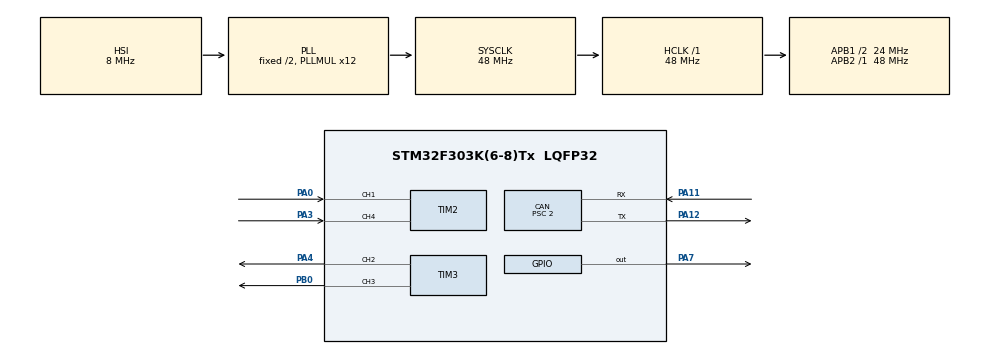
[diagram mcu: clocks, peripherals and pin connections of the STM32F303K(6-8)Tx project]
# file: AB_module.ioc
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CAN.BS1=CAN_BS1_8TQ
CAN.BS2=CAN_BS2_3TQ
CAN.CalculateTimeBit=1000
CAN.CalculateTimeQuantum=83.33333333333333
CAN.Prescaler=2
Mcu.Family=STM32F3
Mcu.Name=STM32F303K(6-8)Tx
Mcu.Package=LQFP32
NVIC.CAN_RX0_IRQn=true\:0\:0\:false\:false\:true\:true
NVIC.CAN_TX_IRQn=true\:0\:0\:false\:false\:true\:true
NVIC.PriorityGroup=NVIC_PRIORITYGROUP_4
PA0.Signal=S_TIM2_CH1_ETR
PA11.Mode=Master
PA11.Signal=CAN_RX
PA12.Mode=Master
PA12.Signal=CAN_TX
PA3.Signal=S_TIM2_CH4
PA4.Signal=S_TIM3_CH2
PA7.PinState=GPIO_PIN_RESET
PA7.Signal=GPIO_Output
PB0.Signal=S_TIM3_CH3
PF0\ /\ OSC_IN.Mode=HSE-External-Oscillator
PF0\ /\ OSC_IN.Signal=RCC_OSC_IN
PF1\ /\ OSC_OUT.Mode=HSE-External-Oscillator
PF1\ /\ OSC_OUT.Signal=RCC_OSC_OUT
ProjectManager.HeapSize=0x200
ProjectManager.StackSize=0x400
ProjectManager.TargetToolchain=MDK-ARM V5
RCC.AHBFreq_Value=48000000
RCC.APB1CLKDivider=RCC_HCLK_DIV2
RCC.APB1Freq_Value=24000000
RCC.APB1TimFreq_Value=48000000
RCC.APB2Freq_Value=48000000
RCC.APB2TimFreq_Value=48000000
RCC.CortexFreq_Value=48000000
RCC.HCLKFreq_Value=48000000
RCC.HSE_VALUE=8000000
RCC.HSI_VALUE=8000000
RCC.PLLMUL=RCC_PLL_MUL12
RCC.PLLSourceVirtual=RCC_PLLSOURCE_HSE
RCC.RCC_PLLsource_Clock_Source_FROM_HSE=RCC_HSE_PREDIV_DIV2
RCC.SYSCLKFreq_VALUE=48000000
RCC.SYSCLKSourceVirtual=RCC_SYSCLKSOURCE_PLLCLK
SH.S_TIM2_CH1_ETR.0=TIM2_CH1,Input_Capture1_from_TI1
SH.S_TIM2_CH4.0=TIM2_CH4,Input_Capture4_from_TI4
SH.S_TIM3_CH2.0=TIM3_CH2,PWM Generation2 CH2
SH.S_TIM3_CH3.0=TIM3_CH3,PWM Generation3 CH3
TIM2.Channel-Input_Capture1_from_TI1=TIM_CHANNEL_1
TIM2.Channel-Input_Capture4_from_TI4=TIM_CHANNEL_4
TIM3.Channel-PWM\ Generation2\ CH2=TIM_CHANNEL_2
TIM3.Channel-PWM\ Generation3\ CH3=TIM_CHANNEL_3
board=AB_module

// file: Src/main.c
/**
  ******************************************************************************
  * @file           : main.c
  * @brief          : Main program body
  ******************************************************************************
  ** This notice applies to any and all portions of this file
  * that are not between comment pairs USER CODE BEGIN and
  * USER CODE END. Other portions of this file, whether
  * inserted by the user or by software development tools
  * are owned by their respective copyright owners.
  *
  * COPYRIGHT(c) 2021 STMicroelectronics
  *
  * Redistribution and use in source and binary forms, with or without modification,
  * are permitted provided that the following conditions are met:
  *   1. Redistributions of source code must retain the above copyright notice,
  *      this list of conditions and the following disclaimer.
  *   2. Redistributions in binary form must reproduce the above copyright notice,
  *      this list of conditions and the following disclaimer in the documentation
  *      and/or other materials provided with the distribution.
  *   3. Neither the name of STMicroelectronics nor the names of its contributors
  *      may be used to endorse or promote products derived from this software
  *      without specific prior written permission.
  *
  * THIS SOFTWARE IS PROVIDED BY THE COPYRIGHT HOLDERS AND CONTRIBUTORS "AS IS"
  * AND ANY EXPRESS OR IMPLIED WARRANTIES, INCLUDING, BUT NOT LIMITED TO, THE
  * IMPLIED WARRANTIES OF MERCHANTABILITY AND FITNESS FOR A PARTICULAR PURPOSE ARE
  * DISCLAIMED. IN NO EVENT SHALL THE COPYRIGHT HOLDER OR CONTRIBUTORS BE LIABLE
  * FOR ANY DIRECT, INDIRECT, INCIDENTAL, SPECIAL, EXEMPLARY, OR CONSEQUENTIAL
  * DAMAGES (INCLUDING, BUT NOT LIMITED TO, PROCUREMENT OF SUBSTITUTE GOODS OR
  * SERVICES; LOSS OF USE, DATA, OR PROFITS; OR BUSINESS INTERRUPTION) HOWEVER
  * CAUSED AND ON ANY THEORY OF LIABILITY, WHETHER IN CONTRACT, STRICT LIABILITY,
  * OR TORT (INCLUDING NEGLIGENCE OR OTHERWISE) ARISING IN ANY WAY OUT OF THE USE
  * OF THIS SOFTWARE, EVEN IF ADVISED OF THE POSSIBILITY OF SUCH DAMAGE.
  *
  ******************************************************************************
  */
#include "main.h"
#include "stm32f3xx_hal.h"
#include "CAN.h"
#include "WSS.h"
#include "math.h"

/* USER CODE BEGIN Includes */
volatile uint8_t AB_ON=0;
volatile uint8_t AB_activation=0;
volatile uint8_t AB_transmit=0;
volatile uint8_t AB_update=0;
volatile uint8_t WSS_read=0;
volatile float speed=0;
volatile float speed1=0;
volatile float speed2=0;
volatile float speed3=0;

volatile uint16_t CAN_TRANSMIT_FREQ = 20;
volatile uint16_t AB_UPDATE_FREQ = 100;
volatile uint16_t WSS_UPDATE_FREQ = 100;

volatile uint16_t speedRR_p, speedRL_p;
volatile uint16_t speedFR_p, speedFL_p;
volatile uint32_t	velNord_car=0, velEast_car=0, velDown_car=0;
volatile WSS_t FR, FL, RL, RR;

/*Value of the pulses generated. Needs to be checked*/
volatile uint16_t pulse_1=0, pulse_2=0;

/*Needed to control the button bounce*/
CanRxMsgTypeDef RxMessage;
CanTxMsgTypeDef TxMessage;

/* USER CODE END Includes */

CAN_HandleTypeDef hcan;

TIM_HandleTypeDef htim2;
TIM_HandleTypeDef htim3;

/* USER CODE BEGIN PV */
/* Private variables ---------------------------------------------------------*/

/* USER CODE END PV */

void SystemClock_Config(void);
static void MX_GPIO_Init(void);
static void MX_CAN_Init(void);
static void MX_TIM2_Init(void);
static void MX_TIM3_Init(void);

void HAL_TIM_MspPostInit(TIM_HandleTypeDef *htim);
void Update_PWM(void);
void AB_test(void);

/* USER CODE BEGIN PFP */
/* Private function prototypes -----------------------------------------------*/

/* USER CODE END PFP */

int main(void)
{

  /* MCU Configuration----------------------------------------------------------*/

  /* Reset of all peripherals, Initializes the Flash interface and the Systick. */
  HAL_Init();

  /* Configure the system clock */
  SystemClock_Config();

  /* Initialize all configured peripherals */
  MX_GPIO_Init();
  MX_CAN_Init();
	HAL_CAN_Receive_IT(&hcan,CAN_FIFO0);
  MX_TIM3_Init();
	MX_TIM2_Init();

  /* USER CODE BEGIN 2 */
	HAL_TIM_IC_Start_IT(&htim2, TIM_CHANNEL_1);
	HAL_TIM_IC_Start_IT(&htim2, TIM_CHANNEL_4);
  /* USER CODE END 2 */

  /* Infinite loop */
  /* USER CODE BEGIN WHILE */
  while (1)
  {
	if(AB_transmit==1)
	{
		send_CAN_data();
		AB_transmit=FLAG_RESET;
	}
	if(WSS_read==1)
	{
		HAL_NVIC_DisableIRQ(TIM2_IRQn);
		ReadAllSpeeds();
		HAL_NVIC_EnableIRQ(TIM2_IRQn);
		WSS_read=0;
		}
	if(AB_activation)
	{
		AB_test();
		AB_activation=FLAG_RESET;
	}
	if(AB_update)
	{
		Update_PWM();
		AB_update=FLAG_RESET;
	}
  /* USER CODE END 3 */
  }
}

/*Configuration for the value for each tick*/
void ConfigureSysTick(void)
{
	if(SysTick_Config(SystemCoreClock / 1000))
		while(1);
}

void Update_PWM()
{
	speed1=(speedFR_p+speedFL_p)/2;
	speed2=(FR.speed+FL.speed)/2;
	speed3=pow(pow(velEast_car,2)+pow(velDown_car,2)+pow(velNord_car,2),0.5f)*1000;

	if (speed3>0){
		speed=speed3;}
	if (speed2>0){
		speed=speed2;}
	if (speed1>0){
		speed=speed1;}

	if (speed>12000&speed<20000){
		pulse_1=9610+(speed-12000)/3.125f;
		pulse_2=12172-(speed-12000)/3.125f;
		__HAL_TIM_SET_COMPARE(&htim3, TIM_CHANNEL_2, pulse_1);
		__HAL_TIM_SET_COMPARE(&htim3, TIM_CHANNEL_3, pulse_2);
		AB_ON=1;
		HAL_Delay(1000);
	}
	else{
		AB_ON=0;
	}
}

void AB_test()
{
	for(int i=0; i<2; i++){
	__HAL_TIM_SET_COMPARE(&htim3, TIM_CHANNEL_2, 9610);
	__HAL_TIM_SET_COMPARE(&htim3, TIM_CHANNEL_3, 12172);
	HAL_Delay(500);
	__HAL_TIM_SET_COMPARE(&htim3, TIM_CHANNEL_2, 10110);
	__HAL_TIM_SET_COMPARE(&htim3, TIM_CHANNEL_3, 11110);
	HAL_Delay(500);
	__HAL_TIM_SET_COMPARE(&htim3, TIM_CHANNEL_2, 10610);
	__HAL_TIM_SET_COMPARE(&htim3, TIM_CHANNEL_3, 10610);
	HAL_Delay(500);
	__HAL_TIM_SET_COMPARE(&htim3, TIM_CHANNEL_2, 11110);
	__HAL_TIM_SET_COMPARE(&htim3, TIM_CHANNEL_3, 10110);
	HAL_Delay(500);
	__HAL_TIM_SET_COMPARE(&htim3, TIM_CHANNEL_2, 12170);
	__HAL_TIM_SET_COMPARE(&htim3, TIM_CHANNEL_3, 9610);
	HAL_Delay(500);
}
}
void SystemClock_Config(void)
{

  RCC_OscInitTypeDef RCC_OscInitStruct;
  RCC_ClkInitTypeDef RCC_ClkInitStruct;

    /**Initializes the CPU, AHB and APB busses clocks
    */
  RCC_OscInitStruct.OscillatorType = RCC_OSCILLATORTYPE_HSE;
  RCC_OscInitStruct.HSEState = RCC_HSE_ON;
  RCC_OscInitStruct.HSEPredivValue = RCC_HSE_PREDIV_DIV2;
  RCC_OscInitStruct.HSIState = RCC_HSI_ON;
  RCC_OscInitStruct.PLL.PLLState = RCC_PLL_ON;
  RCC_OscInitStruct.PLL.PLLSource = RCC_PLLSOURCE_HSI;
  RCC_OscInitStruct.PLL.PLLMUL = RCC_PLL_MUL12;
  if (HAL_RCC_OscConfig(&RCC_OscInitStruct) != HAL_OK)
  {
    _Error_Handler(__FILE__, __LINE__);
  }

    /**Initializes the CPU, AHB and APB busses clocks
    */
  RCC_ClkInitStruct.ClockType = RCC_CLOCKTYPE_HCLK|RCC_CLOCKTYPE_SYSCLK
                              |RCC_CLOCKTYPE_PCLK1|RCC_CLOCKTYPE_PCLK2;
  RCC_ClkInitStruct.SYSCLKSource = RCC_SYSCLKSOURCE_PLLCLK;
  RCC_ClkInitStruct.AHBCLKDivider = RCC_SYSCLK_DIV1;
  RCC_ClkInitStruct.APB1CLKDivider = RCC_HCLK_DIV2;
  RCC_ClkInitStruct.APB2CLKDivider = RCC_HCLK_DIV1;

  if (HAL_RCC_ClockConfig(&RCC_ClkInitStruct, FLASH_LATENCY_1) != HAL_OK)
  {
    _Error_Handler(__FILE__, __LINE__);
  }

    /**Configure the Systick interrupt time
    */
  HAL_SYSTICK_Config(HAL_RCC_GetHCLKFreq()/1000);

    /**Configure the Systick
    */
  HAL_SYSTICK_CLKSourceConfig(SYSTICK_CLKSOURCE_HCLK);

  /* SysTick_IRQn interrupt configuration */
  HAL_NVIC_SetPriority(SysTick_IRQn, 0, 0);
}

/* CAN init function */
static void MX_CAN_Init(void)
{

  hcan.Instance = CAN;
	hcan.pRxMsg=&RxMessage;
	hcan.pTxMsg=&TxMessage;
  hcan.Init.Prescaler = 2;
  hcan.Init.Mode = CAN_MODE_NORMAL;
  hcan.Init.SJW = CAN_SJW_4TQ;
  hcan.Init.BS1 = CAN_BS1_5TQ;
  hcan.Init.BS2 = CAN_BS2_6TQ;
  hcan.Init.TTCM = DISABLE;
  hcan.Init.ABOM = DISABLE;
  hcan.Init.AWUM = DISABLE;
  hcan.Init.NART = DISABLE;
  hcan.Init.RFLM = DISABLE;
  hcan.Init.TXFP = DISABLE;
  if (HAL_CAN_Init(&hcan) != HAL_OK)
  {
    _Error_Handler(__FILE__, __LINE__);
  }

}

/* TIM2 init function */
static void MX_TIM2_Init(void)
{

  TIM_MasterConfigTypeDef sMasterConfig;
  TIM_IC_InitTypeDef sConfigIC;

  htim2.Instance = TIM2;
  htim2.Init.Prescaler = 48-1;
  htim2.Init.CounterMode = TIM_COUNTERMODE_UP;
  htim2.Init.Period = 0xFFFFFFFF;
  htim2.Init.ClockDivision = TIM_CLOCKDIVISION_DIV1;
  htim2.Init.AutoReloadPreload = TIM_AUTORELOAD_PRELOAD_DISABLE;
  if (HAL_TIM_IC_Init(&htim2) != HAL_OK)
  {
    _Error_Handler(__FILE__, __LINE__);
  }
//...

  sMasterConfig.MasterOutputTrigger = TIM_TRGO_RESET;
  sMasterConfig.MasterSlaveMode = TIM_MASTERSLAVEMODE_DISABLE;
  if (HAL_TIMEx_MasterConfigSynchronization(&htim2, &sMasterConfig) != HAL_OK)
  {
    _Error_Handler(__FILE__, __LINE__);
  }

  sConfigIC.ICPolarity = TIM_INPUTCHANNELPOLARITY_RISING;
  sConfigIC.ICSelection = TIM_ICSELECTION_DIRECTTI;
  sConfigIC.ICPrescaler = TIM_ICPSC_DIV1;
  sConfigIC.ICFilter = 0;
  if (HAL_TIM_IC_ConfigChannel(&htim2, &sConfigIC, TIM_CHANNEL_1) != HAL_OK)
  {
    _Error_Handler(__FILE__, __LINE__);
  }

  if (HAL_TIM_IC_ConfigChannel(&htim2, &sConfigIC, TIM_CHANNEL_4) != HAL_OK)
  {
    _Error_Handler(__FILE__, __LINE__);
  }

}

/* TIM3 init function */
static void MX_TIM3_Init(void)
{

  TIM_MasterConfigTypeDef sMasterConfig;
  TIM_OC_InitTypeDef sConfigOC;

  htim3.Instance = TIM3;
  htim3.Init.Prescaler = 5-1;
  htim3.Init.CounterMode = TIM_COUNTERMODE_UP;
  htim3.Init.Period = 28829-1;
  htim3.Init.ClockDivision = TIM_CLOCKDIVISION_DIV1;
  htim3.Init.AutoReloadPreload = TIM_AUTORELOAD_PRELOAD_DISABLE;
  if (HAL_TIM_PWM_Init(&htim3) != HAL_OK)
  {
    _Error_Handler(__FILE__, __LINE__);
  }
//...
  sMasterConfig.MasterOutputTrigger = TIM_TRGO_RESET;
  sMasterConfig.MasterSlaveMode = TIM_MASTERSLAVEMODE_DISABLE;
  if (HAL_TIMEx_MasterConfigSynchronization(&htim3, &sMasterConfig) != HAL_OK)
  {
    _Error_Handler(__FILE__, __LINE__);
  }

  sConfigOC.OCMode = TIM_OCMODE_PWM1;
  sConfigOC.Pulse = 9610; //9610 a 19219 (1 a 2ms->120º) En este caso 0º
  sConfigOC.OCPolarity = TIM_OCPOLARITY_HIGH;
  sConfigOC.OCFastMode = TIM_OCFAST_DISABLE;
  if (HAL_TIM_PWM_ConfigChannel(&htim3, &sConfigOC, TIM_CHANNEL_2) != HAL_OK)
  {
    _Error_Handler(__FILE__, __LINE__);
  }
  sConfigOC.Pulse = 12172;  //En este caso 60-28º=32º con respecto al primero
  if (HAL_TIM_PWM_ConfigChannel(&htim3, &sConfigOC, TIM_CHANNEL_3) != HAL_OK)
  {
    _Error_Handler(__FILE__, __LINE__);
  }

  HAL_TIM_MspPostInit(&htim3);

	HAL_TIM_Base_Start(&htim3); //Starts the TIM Base generation. Si todo esta bien lo iniciamos

  if (HAL_TIM_PWM_Start(&htim3, TIM_CHANNEL_2) != HAL_OK)//Starts the PWM signal generation
  {
    /* PWM Generation Error */
    Error_Handler();
  }
	if (HAL_TIM_PWM_Start(&htim3, TIM_CHANNEL_3) != HAL_OK)//Starts the PWM signal generation
  {
    /* PWM Generation Error */
    Error_Handler();
  }
}

/** Pinout Configuration
*/
static void MX_GPIO_Init(void)
{

  /* GPIO Ports Clock Enable */
  __HAL_RCC_GPIOA_CLK_ENABLE();
  __HAL_RCC_GPIOB_CLK_ENABLE();

}

/* USER CODE BEGIN 4 */

void HAL_SYSTICK_Callback(void)
{
	uint32_t uwTick = HAL_GetTick();

	if(!AB_transmit && !(uwTick % (1000/CAN_TRANSMIT_FREQ)))
		AB_transmit = FLAG_SET;
	if(!AB_update && !(uwTick % (1000/AB_UPDATE_FREQ)))
		AB_update = FLAG_SET;
	if(!WSS_read && !(uwTick % (1000/WSS_UPDATE_FREQ)))
		WSS_read = FLAG_SET;
	if(!(uwTick % (1000/CAN_TRANSMIT_FREQ)))
		HAL_CAN_Receive_IT(&hcan,CAN_FIFO0);
}

/* USER CODE END 4 */

void _Error_Handler(char *file, int line)
{
  while(1)
  {
  }
}

/************************ (C) COPYRIGHT STMicroelectronics *****END OF FILE****/
